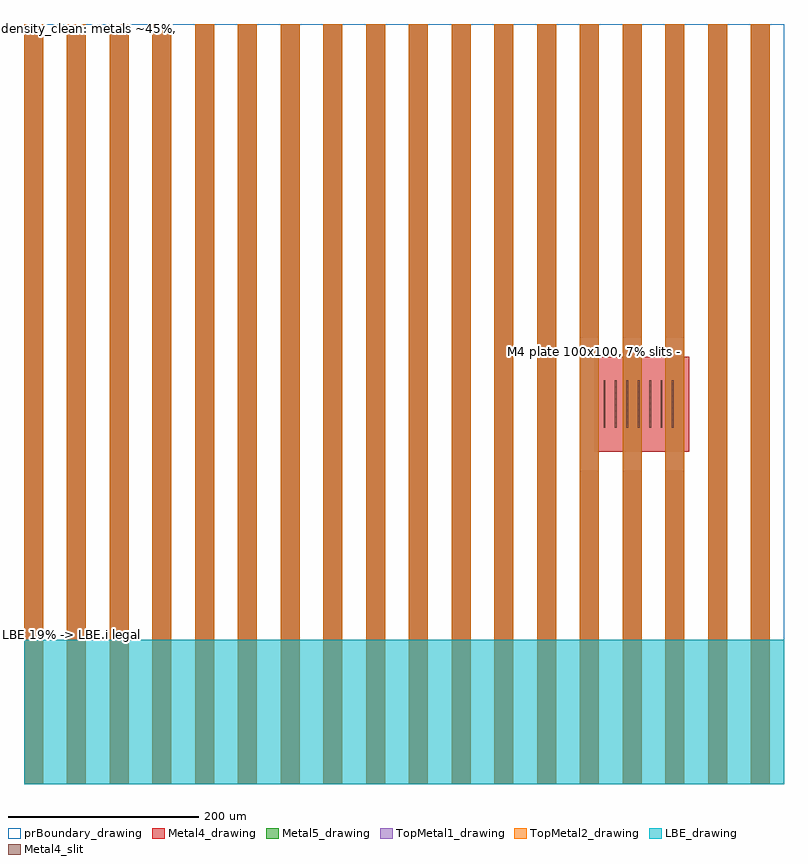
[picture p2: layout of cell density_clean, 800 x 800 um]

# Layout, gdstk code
import gdstk
lib = gdstk.Library(unit=1e-6, precision=1e-09)
def R(c, l, rs):  # rectangles x0, y0, x1, y1
    for r in rs: c.add(gdstk.rectangle(r[:2], r[2:], *l))
def A(c, l, x, y, w, h, nx, ny, dx, dy):  # array of equal rectangles
    R(c, l, [(x+i*dx, y+j*dy, x+i*dx+w, y+j*dy+h) for i in range(nx) for j in range(ny)])
Metal4_drawing = (50, 0)
Metal4_slit = (50, 24)
Metal5_drawing = (67, 0)
TopMetal1_drawing = (126, 0)
TopMetal2_drawing = (134, 0)
LBE_drawing = (157, 0)
prBoundary_drawing = (235, 0)

density_clean = lib.new_cell('density_clean')
A(density_clean, Metal4_drawing, 0, 0, 20, 800, 13, 1, 45, 0)
A(density_clean, Metal4_drawing, 585, 0, 20, 330, 3, 2, 45, 470)
R(density_clean, Metal4_drawing, [(720,0,740,800), (765,0,785,800), (600,350,700,450)])
A(density_clean, Metal4_slit, 610, 375, 2, 50, 7, 1, 12, 0)
A(density_clean, Metal5_drawing, 0, 0, 20, 800, 18, 1, 45, 0)
A(density_clean, TopMetal1_drawing, 0, 0, 20, 800, 18, 1, 45, 0)
A(density_clean, TopMetal2_drawing, 0, 0, 20, 800, 18, 1, 45, 0)
R(density_clean, LBE_drawing, [(0,0,800,152)])
R(density_clean, prBoundary_drawing, [(0,0,800,800)])
density_clean.add(gdstk.Label('density_clean: metals ~45%, LBE 19% and M4 plate w/ 7% slits (all legal)', (10,795), layer=63, texttype=0))
density_clean.add(gdstk.Label('M4 plate 100x100, 7% slits -> Slt.i_M4 legal', (600,455), layer=63, texttype=0))
density_clean.add(gdstk.Label('LBE 19% -> LBE.i legal', (10,157), layer=63, texttype=0))

lib.write_gds('density_clean.gds')
